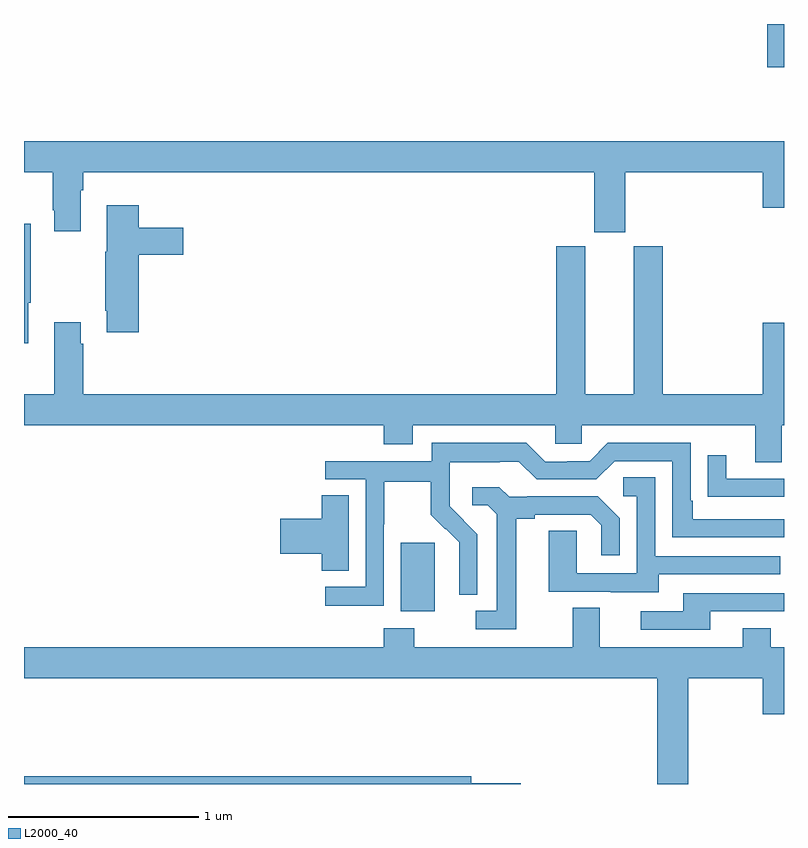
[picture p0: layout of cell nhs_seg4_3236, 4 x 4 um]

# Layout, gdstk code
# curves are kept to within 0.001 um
import gdstk
lib = gdstk.Library(unit=1e-6, precision=1e-09)
def R(c, l, rs):  # rectangles x0, y0, x1, y1
    for r in rs: c.add(gdstk.rectangle(r[:2], r[2:], *l))
def P(c, l, *ps):  # polygons
    for p in ps: c.add(gdstk.Polygon(p, *l))
L2000_40 = (2000, 40)

nhs_seg4_3236 = lib.new_cell('nhs_seg4_3236')
R(nhs_seg4_3236, L2000_40, [(282.983,827.81,283.162,828.171), (284.912,830.673,285,830.9)])
P(nhs_seg4_3236, L2000_40, [(284.164,830.12),(284.888,830.12),(284.888,829.932),(285,829.932),(285,830.284),(281,830.284),(281,830.12),(281.152,830.12),(281.152,829.921),(281.159,829.921),(281.159,829.809),(281.299,829.809),(281.299,830.024),(281.312,830.024),(281.312,830.12),(284,830.12),(284,829.803),(284.164,829.803)],
  [(281.603,829.685),(281.839,829.685),(281.839,829.827),(281.603,829.827),(281.603,829.945),(281.435,829.945),(281.435,829.701),(281.428,829.701),(281.428,829.39),(281.435,829.39),(281.435,829.278),(281.603,829.278)],
  [(281.023,829.433),(281.035,829.433),(281.035,829.849),(281,829.849),(281,829.221),(281.023,829.221)],
  [(284.989,828.788),(285,828.788),(285,829.327),(284.888,829.327),(284.888,828.952),(284.363,828.952),(284.363,829.731),(284.21,829.731),(284.21,828.952),(283.954,828.952),(283.954,829.731),(283.802,829.731),(283.802,828.952),(281.312,828.952),(281.312,829.217),(281.299,829.217),(281.299,829.33),(281.159,829.33),(281.159,828.952),(281,828.952),(281,828.788),(282.893,828.788),(282.893,828.689),(283.045,828.689),(283.045,828.788),(283.797,828.788),(283.797,828.69),(283.935,828.69),(283.935,828.788),(284.849,828.788),(284.849,828.594),(284.989,828.594)],
  [(282.894,828.268),(282.897,828.268),(282.897,828.492),(283.141,828.492),(283.141,828.317),(283.218,828.24),(283.221,828.243),(283.292,828.173),(283.292,828.05),(283.29,828.05),(283.29,827.896),(283.386,827.896),(283.386,828.214),(283.24,828.362),(283.24,828.459),(283.242,828.459),(283.242,828.593),(283.505,828.593),(283.505,828.597),(283.605,828.597),(283.698,828.504),(284.013,828.504),(284.109,828.6),(284.412,828.6),(284.412,828.198),(285,828.198),(285,828.294),(284.521,828.294),(284.521,828.391),(284.508,828.391),(284.508,828.696),(284.073,828.696),(283.977,828.6),(283.859,828.6),(283.859,828.597),(283.743,828.597),(283.643,828.697),(283.146,828.697),(283.146,828.6),(282.585,828.6),(282.585,828.504),(282.798,828.504),(282.798,827.937),(282.585,827.937),(282.585,827.839),(282.894,827.839)],
  [(285,828.507),(284.695,828.507),(284.695,828.631),(284.599,828.631),(284.599,828.412),(284.701,828.412),(284.701,828.411),(285,828.411)],
  [(284.341,828.003),(284.981,828.003),(284.981,828.099),(284.322,828.099),(284.322,828.515),(284.154,828.515),(284.154,828.414),(284.226,828.414),(284.226,828.009),(283.908,828.009),(283.908,828.233),(283.763,828.233),(283.763,827.913),(284.087,827.913),(284.087,827.909),(284.341,827.909)],
  [(283.591,828.296),(283.687,828.296),(283.687,828.318),(283.982,828.318),(284.039,828.261),(284.039,828.105),(284.136,828.105),(284.136,828.298),(284.02,828.414),(283.648,828.414),(283.648,828.411),(283.554,828.411),(283.502,828.463),(283.359,828.463),(283.359,828.366),(283.44,828.366),(283.487,828.319),(283.487,827.811),(283.377,827.811),(283.377,827.715),(283.591,827.715)],
  [(282.709,828.419),(282.566,828.419),(282.566,828.296),(282.348,828.296),(282.348,828.113),(282.566,828.113),(282.566,828.022),(282.709,828.022)],
  [(284.611,827.808),(285,827.808),(285,827.904),(284.471,827.904),(284.471,827.808),(284.247,827.808),(284.247,827.712),(284.611,827.712)],
  [(284.497,827.456),(284.888,827.456),(284.888,827.268),(285,827.268),(285,827.62),(284.931,827.62),(284.931,827.719),(284.783,827.719),(284.783,827.62),(284.029,827.62),(284.029,827.828),(283.889,827.828),(283.889,827.62),(283.053,827.62),(283.053,827.719),(282.893,827.719),(282.893,827.62),(281,827.62),(281,827.456),(284.333,827.456),(284.333,826.9),(284.497,826.9)],
  [(283.615,826.904),(283.354,826.904),(283.354,826.94),(281,826.94),(281,826.9),(283.615,826.9)])

lib.write_gds('nhs_seg4_3236.gds')
